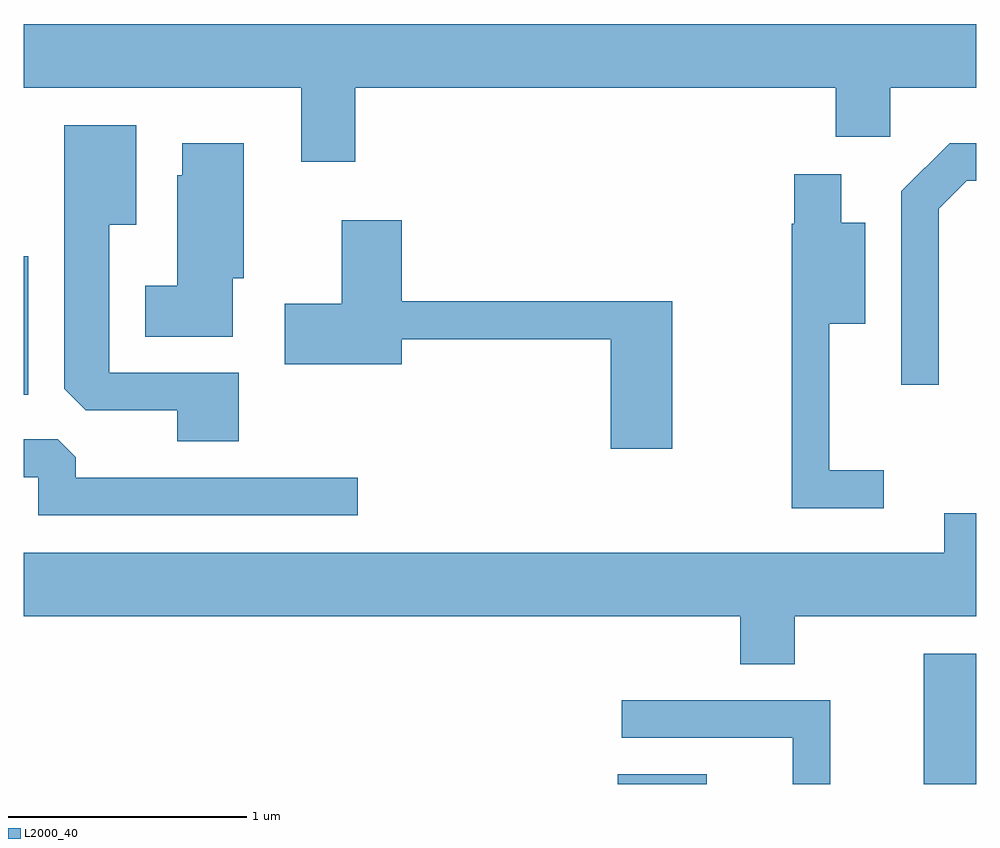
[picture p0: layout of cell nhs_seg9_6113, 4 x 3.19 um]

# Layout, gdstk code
import gdstk
lib = gdstk.Library(unit=1e-6, precision=1e-09)
def R(c, l, rs):  # rectangles x0, y0, x1, y1
    for r in rs: c.add(gdstk.rectangle(r[:2], r[2:], *l))
def P(c, l, *ps):  # polygons
    for p in ps: c.add(gdstk.Polygon(p, *l))
L2000_40 = (2000, 40)

nhs_seg9_6113 = lib.new_cell('nhs_seg9_6113')
R(nhs_seg9_6113, L2000_40, [(368.106,2004.432,368.479,2004.474), (369.391,2004.432,369.611,2004.979), (365.611,2006.066,365.629,2006.649)])
P(nhs_seg9_6113, L2000_40, [(367.004,2007.356),(369.021,2007.356),(369.021,2007.151),(369.249,2007.151),(369.249,2007.356),(369.611,2007.356),(369.611,2007.624),(365.611,2007.624),(365.611,2007.356),(366.776,2007.356),(366.776,2007.046),(367.004,2007.046)],
  [(366.514,2006.159),(365.969,2006.159),(365.969,2006.781),(366.084,2006.781),(366.084,2007.199),(365.781,2007.199),(365.781,2006.092),(365.872,2006.001),(366.256,2006.001),(366.256,2005.871),(366.514,2005.871)],
  [(369.454,2006.849),(369.572,2006.966),(369.611,2006.966),(369.611,2007.124),(369.499,2007.124),(369.296,2006.922),(369.296,2006.108),(369.454,2006.108)],
  [(366.489,2006.556),(366.534,2006.556),(366.534,2007.124),(366.276,2007.124),(366.276,2006.989),(366.256,2006.989),(366.256,2006.524),(366.121,2006.524),(366.121,2006.311),(366.489,2006.311)],
  [(369.223,2005.749),(368.994,2005.749),(368.994,2006.366),(369.144,2006.366),(369.144,2006.789),(369.044,2006.789),(369.044,2006.994),(368.846,2006.994),(368.846,2006.785),(368.836,2006.785),(368.836,2005.591),(369.223,2005.591)],
  [(368.334,2006.459),(367.199,2006.459),(367.199,2006.799),(366.946,2006.799),(366.946,2006.449),(366.706,2006.449),(366.706,2006.196),(367.199,2006.196),(367.199,2006.301),(368.076,2006.301),(368.076,2005.841),(368.334,2005.841)],
  [(367.013,2005.719),(365.829,2005.719),(365.829,2005.804),(365.754,2005.879),(365.611,2005.879),(365.611,2005.721),(365.671,2005.721),(365.671,2005.561),(367.013,2005.561)],
  [(368.849,2005.136),(369.611,2005.136),(369.611,2005.569),(369.476,2005.569),(369.476,2005.404),(365.611,2005.404),(365.611,2005.136),(368.621,2005.136),(368.621,2004.936),(368.849,2004.936)],
  [(368.999,2004.784),(368.123,2004.784),(368.123,2004.626),(368.841,2004.626),(368.841,2004.432),(368.999,2004.432)])

lib.write_gds('nhs_seg9_6113.gds')
